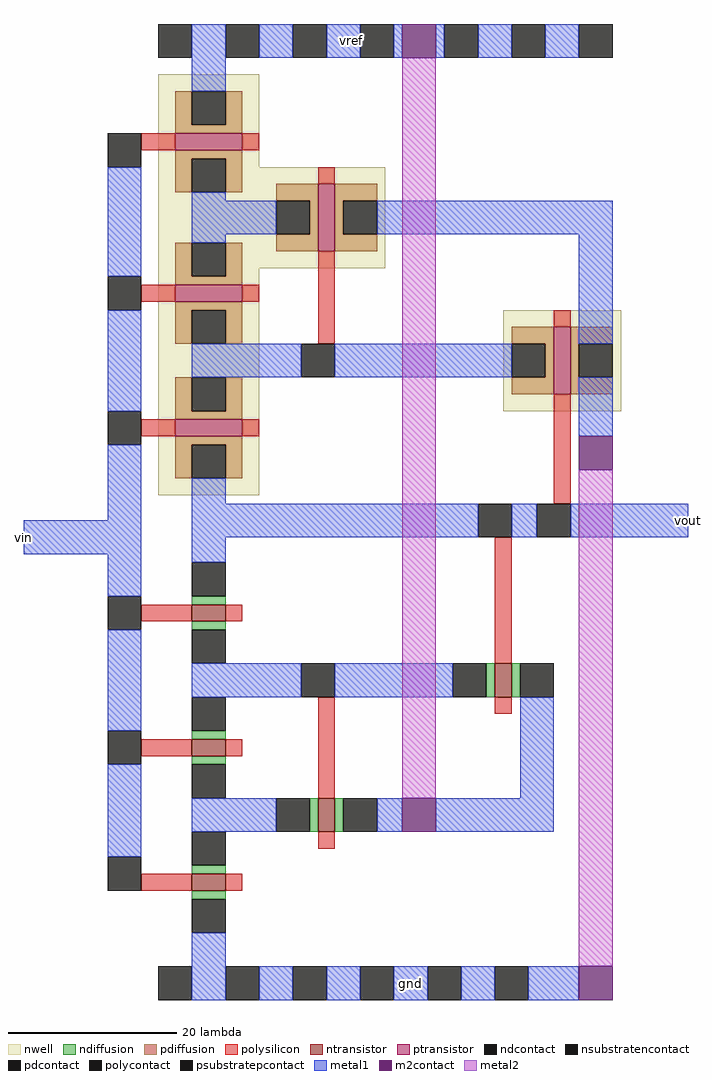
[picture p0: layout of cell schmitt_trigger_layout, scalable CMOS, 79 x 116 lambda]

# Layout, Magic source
magic
tech scmos
<< nwell >>
rect -4 29 8 40
rect -4 17 23 29
rect -4 -10 8 17
rect 37 0 51 12
<< polysilicon >>
rect -6 31 -2 33
rect 6 31 8 33
rect 15 27 17 29
rect -6 13 -2 15
rect 6 13 8 15
rect 15 8 17 19
rect 43 10 45 12
rect -6 -3 -2 -1
rect 6 -3 8 -1
rect 43 -11 45 2
rect -6 -25 0 -23
rect 4 -25 6 -23
rect 36 -30 38 -15
rect -6 -41 0 -39
rect 4 -41 6 -39
rect 15 -46 17 -34
rect 36 -36 38 -34
rect 15 -52 17 -50
rect -6 -57 0 -55
rect 4 -57 6 -55
<< ndiffusion >>
rect 0 -23 4 -22
rect 0 -26 4 -25
rect 35 -34 36 -30
rect 38 -34 39 -30
rect 0 -39 4 -38
rect 0 -42 4 -41
rect 14 -50 15 -46
rect 17 -50 18 -46
rect 0 -55 4 -54
rect 0 -58 4 -57
<< pdiffusion >>
rect -2 34 0 38
rect 4 34 6 38
rect -2 33 6 34
rect -2 30 6 31
rect -2 26 0 30
rect 4 26 6 30
rect 10 25 15 27
rect 14 21 15 25
rect -2 16 0 20
rect 4 16 6 20
rect 10 19 15 21
rect 17 25 22 27
rect 17 21 18 25
rect 17 19 22 21
rect -2 15 6 16
rect -2 12 6 13
rect -2 8 0 12
rect 4 8 6 12
rect 38 8 43 10
rect 42 4 43 8
rect -2 0 0 4
rect 4 0 6 4
rect 38 2 43 4
rect 45 8 50 10
rect 45 4 46 8
rect 45 2 50 4
rect -2 -1 6 0
rect -2 -4 6 -3
rect -2 -8 0 -4
rect 4 -8 6 -4
<< metal1 >>
rect 0 38 4 46
rect 8 42 12 46
rect 16 42 20 46
rect 24 42 25 46
rect 29 42 30 46
rect 34 42 38 46
rect 42 42 46 46
rect -10 16 -6 29
rect 0 25 4 26
rect 0 21 10 25
rect 22 21 50 25
rect 0 20 4 21
rect -10 0 -6 12
rect 46 8 50 21
rect 0 4 13 8
rect 17 4 38 8
rect 46 -3 50 4
rect -10 -13 -6 -4
rect -20 -17 -6 -13
rect -10 -22 -6 -17
rect 0 -11 4 -8
rect 0 -15 34 -11
rect 38 -15 41 -11
rect 45 -15 59 -11
rect 0 -18 4 -15
rect -10 -38 -6 -26
rect 0 -34 13 -30
rect 17 -34 31 -30
rect -10 -53 -6 -42
rect 39 -46 43 -34
rect 0 -50 10 -46
rect 22 -50 25 -46
rect 29 -50 43 -46
rect 0 -70 4 -62
rect 8 -70 12 -66
rect 16 -70 20 -66
rect 24 -70 28 -66
rect 32 -70 36 -66
rect 40 -70 46 -66
<< metal2 >>
rect 25 -46 29 42
rect 46 -66 50 -7
<< ntransistor >>
rect 0 -25 4 -23
rect 36 -34 38 -30
rect 0 -41 4 -39
rect 15 -50 17 -46
rect 0 -57 4 -55
<< ptransistor >>
rect -2 31 6 33
rect 15 19 17 27
rect -2 13 6 15
rect 43 2 45 10
rect -2 -3 6 -1
<< polycontact >>
rect -10 29 -6 33
rect -10 12 -6 16
rect 13 4 17 8
rect -10 -4 -6 0
rect 34 -15 38 -11
rect 41 -15 45 -11
rect -10 -26 -6 -22
rect 13 -34 17 -30
rect -10 -42 -6 -38
rect -10 -57 -6 -53
<< ndcontact >>
rect 0 -22 4 -18
rect 0 -30 4 -26
rect 31 -34 35 -30
rect 39 -34 43 -30
rect 0 -38 4 -34
rect 0 -46 4 -42
rect 10 -50 14 -46
rect 18 -50 22 -46
rect 0 -54 4 -50
rect 0 -62 4 -58
<< pdcontact >>
rect 0 34 4 38
rect 0 26 4 30
rect 10 21 14 25
rect 0 16 4 20
rect 18 21 22 25
rect 0 8 4 12
rect 38 4 42 8
rect 0 0 4 4
rect 46 4 50 8
rect 0 -8 4 -4
<< m2contact >>
rect 25 42 29 46
rect 46 -7 50 -3
rect 25 -50 29 -46
rect 46 -70 50 -66
<< psubstratepcontact >>
rect -4 -70 0 -66
rect 4 -70 8 -66
rect 12 -70 16 -66
rect 20 -70 24 -66
rect 28 -70 32 -66
rect 36 -70 40 -66
<< nsubstratencontact >>
rect -4 42 0 46
rect 4 42 8 46
rect 12 42 16 46
rect 20 42 24 46
rect 30 42 34 46
rect 38 42 42 46
rect 46 42 50 46
<< labels >>
rlabel metal1 -20 -17 -20 -13 3 vin
rlabel metal1 59 -15 59 -11 7 vout
rlabel metal1 19 44 19 44 5 vref
rlabel metal1 26 -68 26 -68 1 gnd
<< end >>
